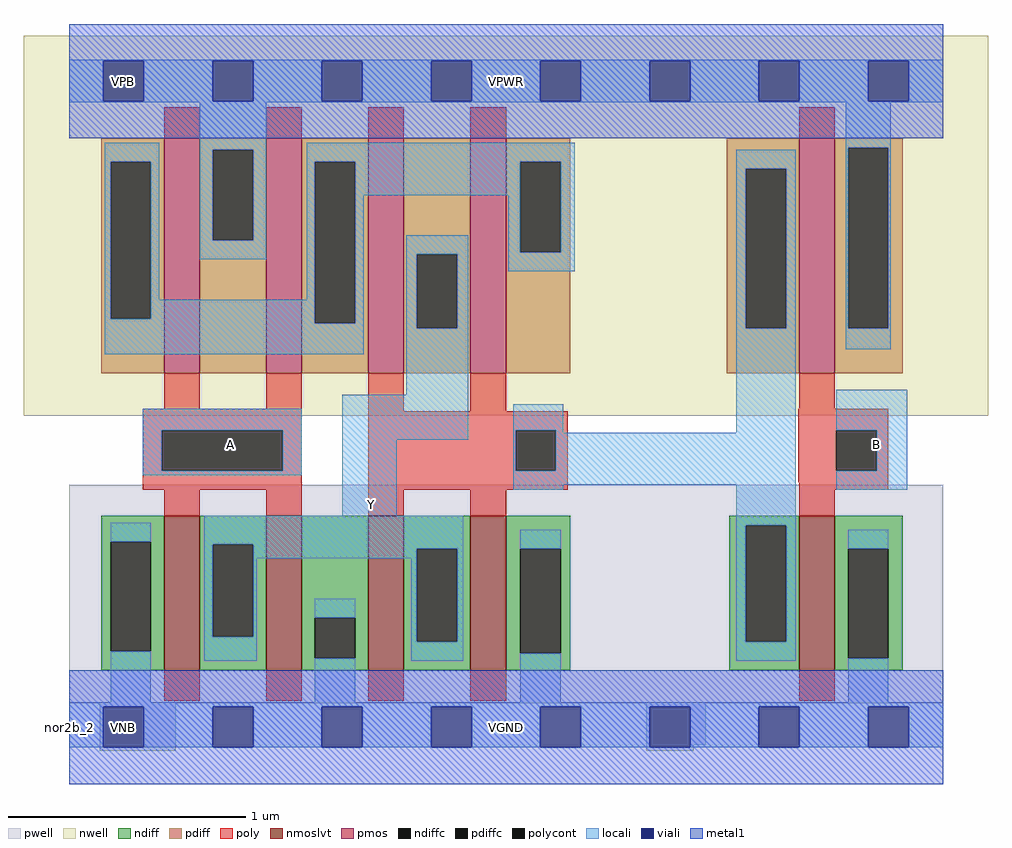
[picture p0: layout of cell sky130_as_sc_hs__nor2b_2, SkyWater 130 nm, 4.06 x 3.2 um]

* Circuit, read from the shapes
.subckt sky130_as_sc_hs__nor2b_2 VNB VPWR VGND VPB A Y B
XM1 Y A VGND VNB sky130_fd_pr__nfet_01v8_lvt w=0.65 l=0.15 m=2
XM2 Y n1 VGND VNB sky130_fd_pr__nfet_01v8_lvt w=0.65 l=0.15 m=2
XM3 VGND B n1 VNB sky130_fd_pr__nfet_01v8_lvt w=0.65 l=0.15
XM4 VPWR A n2 VPB sky130_fd_pr__pfet_01v8 w=0.99 l=0.15 m=2
XM5 Y n1 n2 VPB sky130_fd_pr__pfet_01v8 w=0.99 l=0.15 m=2
XM6 VPWR B n1 VPB sky130_fd_pr__pfet_01v8 w=0.99 l=0.15
.ends

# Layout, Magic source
magic
tech sky130A
magscale 1 2
<< nwell >>
rect -38 262 774 582
<< pwell >>
rect 0 20 736 204
rect 26 -20 90 20
rect 486 -15 536 20
rect 486 -20 526 -15
<< pmos >>
rect 80 298 110 496
rect 166 298 196 496
rect 252 298 282 496
rect 338 298 368 496
rect 615 298 645 496
<< nmoslvt >>
rect 80 48 110 178
rect 166 48 196 178
rect 252 48 282 178
rect 338 48 368 178
rect 615 48 645 178
<< ndiff >>
rect 27 156 80 178
rect 27 64 35 156
rect 69 64 80 156
rect 27 48 80 64
rect 110 154 166 178
rect 110 76 121 154
rect 155 76 166 154
rect 110 48 166 76
rect 196 92 252 178
rect 196 58 207 92
rect 241 58 252 92
rect 196 48 252 58
rect 282 150 338 178
rect 282 72 293 150
rect 327 72 338 150
rect 282 48 338 72
rect 368 150 422 178
rect 368 62 380 150
rect 414 62 422 150
rect 368 48 422 62
rect 556 170 615 178
rect 556 72 570 170
rect 604 72 615 170
rect 556 48 615 72
rect 645 150 702 178
rect 645 58 656 150
rect 690 58 702 150
rect 645 48 702 58
<< pdiff >>
rect 27 476 80 496
rect 27 344 35 476
rect 69 344 80 476
rect 27 298 80 344
rect 110 486 166 496
rect 110 410 121 486
rect 155 410 166 486
rect 110 298 166 410
rect 196 476 252 496
rect 196 340 207 476
rect 241 340 252 476
rect 196 298 252 340
rect 282 398 338 496
rect 282 336 293 398
rect 327 336 338 398
rect 282 298 338 336
rect 368 476 422 496
rect 368 400 380 476
rect 414 400 422 476
rect 368 298 422 400
rect 554 470 615 496
rect 554 336 570 470
rect 604 336 615 470
rect 554 298 615 336
rect 645 488 702 496
rect 645 336 656 488
rect 690 336 702 488
rect 645 298 702 336
<< ndiffc >>
rect 35 64 69 156
rect 121 76 155 154
rect 207 58 241 92
rect 293 72 327 150
rect 380 62 414 150
rect 570 72 604 170
rect 656 58 690 150
<< pdiffc >>
rect 35 344 69 476
rect 121 410 155 486
rect 207 340 241 476
rect 293 336 327 398
rect 380 400 414 476
rect 570 336 604 470
rect 656 336 690 488
<< poly >>
rect 80 496 110 522
rect 166 496 196 522
rect 252 496 282 522
rect 338 496 368 522
rect 615 496 645 522
rect 80 268 110 298
rect 166 268 196 298
rect 62 250 196 268
rect 62 216 78 250
rect 180 216 196 250
rect 62 200 196 216
rect 80 178 110 200
rect 166 178 196 200
rect 252 266 282 298
rect 338 266 368 298
rect 615 268 645 298
rect 252 250 420 266
rect 252 216 376 250
rect 410 216 420 250
rect 252 200 420 216
rect 614 250 690 268
rect 614 216 646 250
rect 680 216 690 250
rect 614 206 690 216
rect 615 200 690 206
rect 252 178 282 200
rect 338 178 368 200
rect 615 178 645 200
rect 80 22 110 48
rect 166 22 196 48
rect 252 22 282 48
rect 338 22 368 48
rect 615 22 645 48
<< polycont >>
rect 78 216 180 250
rect 376 216 410 250
rect 646 216 680 250
<< locali >>
rect 0 561 736 562
rect 0 527 29 561
rect 63 527 121 561
rect 155 527 213 561
rect 247 527 305 561
rect 339 527 397 561
rect 431 527 489 561
rect 523 527 581 561
rect 615 527 673 561
rect 707 527 736 561
rect 0 526 736 527
rect 30 476 76 492
rect 30 344 35 476
rect 69 360 76 476
rect 110 486 166 526
rect 110 410 121 486
rect 155 410 166 486
rect 110 394 166 410
rect 200 476 426 492
rect 654 488 692 526
rect 200 360 207 476
rect 69 344 207 360
rect 30 340 207 344
rect 241 448 380 476
rect 241 340 248 448
rect 30 314 248 340
rect 284 398 336 414
rect 284 336 293 398
rect 327 336 336 398
rect 370 400 380 448
rect 414 400 426 476
rect 370 384 426 400
rect 562 470 612 486
rect 284 280 336 336
rect 62 250 196 268
rect 62 216 78 250
rect 180 216 196 250
rect 62 212 196 216
rect 230 242 336 280
rect 562 336 570 470
rect 604 336 612 470
rect 374 250 416 272
rect 230 178 276 242
rect 374 216 376 250
rect 410 248 416 250
rect 562 248 612 336
rect 654 336 656 488
rect 690 336 692 488
rect 654 318 692 336
rect 410 216 612 248
rect 374 204 612 216
rect 374 200 416 204
rect 35 156 69 172
rect 35 21 69 64
rect 114 154 332 178
rect 562 170 612 204
rect 646 250 706 284
rect 680 216 706 250
rect 646 200 706 216
rect 114 76 121 154
rect 155 150 332 154
rect 155 142 293 150
rect 155 76 158 142
rect 114 56 158 76
rect 207 92 241 108
rect 207 21 241 58
rect 288 72 293 142
rect 327 72 332 150
rect 288 56 332 72
rect 380 150 414 166
rect 380 21 414 62
rect 562 72 570 170
rect 604 72 612 170
rect 562 56 612 72
rect 656 150 690 166
rect 656 21 690 58
rect 0 17 736 21
rect 0 -17 29 17
rect 63 -17 121 17
rect 155 -17 213 17
rect 247 -17 305 17
rect 339 -17 397 17
rect 431 -17 489 17
rect 523 -17 581 17
rect 615 -17 673 17
rect 707 -17 736 17
<< viali >>
rect 29 527 63 561
rect 121 527 155 561
rect 213 527 247 561
rect 305 527 339 561
rect 397 527 431 561
rect 489 527 523 561
rect 581 527 615 561
rect 673 527 707 561
rect 29 -17 63 17
rect 121 -17 155 17
rect 213 -17 247 17
rect 305 -17 339 17
rect 397 -17 431 17
rect 489 -17 523 17
rect 581 -17 615 17
rect 673 -17 707 17
<< metal1 >>
rect 0 561 736 592
rect 0 527 29 561
rect 63 527 121 561
rect 155 527 213 561
rect 247 527 305 561
rect 339 527 397 561
rect 431 527 489 561
rect 523 527 581 561
rect 615 527 673 561
rect 707 527 736 561
rect 0 496 736 527
rect 0 17 736 48
rect 0 -17 29 17
rect 63 -17 121 17
rect 155 -17 213 17
rect 247 -17 305 17
rect 339 -17 397 17
rect 431 -17 489 17
rect 523 -17 581 17
rect 615 -17 673 17
rect 707 -17 736 17
rect 0 -48 736 -17
<< labels >>
rlabel comment s 0 0 0 0 4 nor2b_2
flabel pwell s 29 -17 63 17 0 FreeSans 200 0 0 0 VNB
port 1 nsew ground bidirectional
flabel pwell s 46 0 46 0 0 FreeSans 200 0 0 0 VNB
flabel nwell s 29 527 63 561 0 FreeSans 200 0 0 0 VPB
port 4 nsew power bidirectional
flabel nwell s 46 544 46 544 0 FreeSans 200 0 0 0 VPB
flabel metal1 s 29 527 63 561 0 FreeSans 200 0 0 0 VPWR
port 2 nsew power bidirectional abutment
flabel metal1 s 29 -17 63 17 0 FreeSans 200 0 0 0 VGND
port 3 nsew ground bidirectional abutment
rlabel metal1 s 0 -48 736 48 1 VGND
port 3 nsew ground bidirectional abutment
rlabel metal1 s 0 496 736 592 1 VPWR
port 2 nsew power bidirectional abutment
flabel locali 119 221 153 255 0 FreeSans 200 0 0 0 A
port 5 nsew signal input
flabel locali 136 238 136 238 0 FreeSans 200 0 0 0 A
flabel locali 238 170 272 204 0 FreeSans 200 0 0 0 Y
port 6 nsew signal output
flabel locali 255 187 255 187 0 FreeSans 200 0 0 0 Y
flabel locali 663 221 697 255 0 FreeSans 200 0 0 0 B
port 7 nsew signal input
flabel locali 680 238 680 238 0 FreeSans 200 0 0 0 B
<< properties >>
string FIXED_BBOX 0 0 736 544
string GDS_FILE $PDKPATH/libs.ref/sky130_as_sc_hs/gds/sky130_as_sc_hs__nor2b_2.gds
string LEFclass CORE
string LEFsite unithd
string LEFsymmetry X Y R90
string MASKHINTS_LVTN 0 -4 736 216
string MASKHINTS_NSDM 0 -38 736 203
string MASKHINTS_PSDM 0 273 736 582
<< end >>
